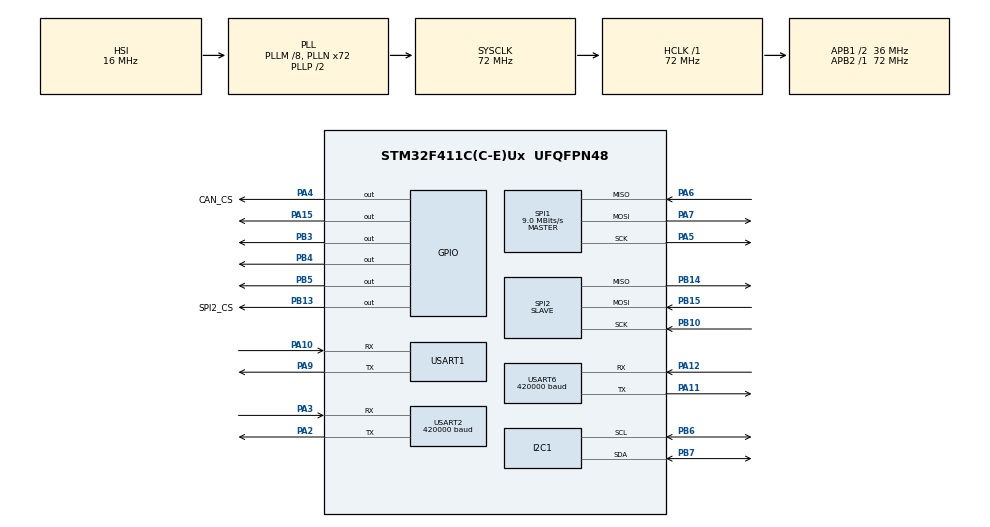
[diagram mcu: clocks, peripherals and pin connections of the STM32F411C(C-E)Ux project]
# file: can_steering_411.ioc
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Dma.Request0=USART2_RX
Dma.Request1=USART2_TX
Dma.Request2=USART6_RX
Dma.Request3=USART6_TX
Dma.USART2_RX.0.Direction=DMA_PERIPH_TO_MEMORY
Dma.USART2_RX.0.FIFOMode=DMA_FIFOMODE_DISABLE
Dma.USART2_RX.0.Instance=DMA1_Stream5
Dma.USART2_RX.0.MemDataAlignment=DMA_MDATAALIGN_BYTE
Dma.USART2_RX.0.MemInc=DMA_MINC_ENABLE
Dma.USART2_RX.0.Mode=DMA_NORMAL
Dma.USART2_RX.0.PeriphDataAlignment=DMA_PDATAALIGN_BYTE
Dma.USART2_RX.0.PeriphInc=DMA_PINC_DISABLE
Dma.USART2_RX.0.Priority=DMA_PRIORITY_LOW
Dma.USART2_TX.1.Direction=DMA_MEMORY_TO_PERIPH
Dma.USART2_TX.1.FIFOMode=DMA_FIFOMODE_DISABLE
Dma.USART2_TX.1.Instance=DMA1_Stream6
Dma.USART2_TX.1.MemDataAlignment=DMA_MDATAALIGN_BYTE
Dma.USART2_TX.1.MemInc=DMA_MINC_ENABLE
Dma.USART2_TX.1.Mode=DMA_NORMAL
Dma.USART2_TX.1.PeriphDataAlignment=DMA_PDATAALIGN_BYTE
Dma.USART2_TX.1.PeriphInc=DMA_PINC_DISABLE
Dma.USART2_TX.1.Priority=DMA_PRIORITY_LOW
Dma.USART6_RX.2.Direction=DMA_PERIPH_TO_MEMORY
Dma.USART6_RX.2.FIFOMode=DMA_FIFOMODE_DISABLE
Dma.USART6_RX.2.Instance=DMA2_Stream1
Dma.USART6_RX.2.MemDataAlignment=DMA_MDATAALIGN_BYTE
Dma.USART6_RX.2.MemInc=DMA_MINC_ENABLE
Dma.USART6_RX.2.Mode=DMA_NORMAL
Dma.USART6_RX.2.PeriphDataAlignment=DMA_PDATAALIGN_BYTE
Dma.USART6_RX.2.PeriphInc=DMA_PINC_DISABLE
Dma.USART6_RX.2.Priority=DMA_PRIORITY_LOW
Dma.USART6_TX.3.Direction=DMA_MEMORY_TO_PERIPH
Dma.USART6_TX.3.FIFOMode=DMA_FIFOMODE_DISABLE
Dma.USART6_TX.3.Instance=DMA2_Stream6
Dma.USART6_TX.3.MemDataAlignment=DMA_MDATAALIGN_BYTE
Dma.USART6_TX.3.MemInc=DMA_MINC_ENABLE
Dma.USART6_TX.3.Mode=DMA_NORMAL
Dma.USART6_TX.3.PeriphDataAlignment=DMA_PDATAALIGN_BYTE
Dma.USART6_TX.3.PeriphInc=DMA_PINC_DISABLE
Dma.USART6_TX.3.Priority=DMA_PRIORITY_LOW
Mcu.Family=STM32F4
Mcu.Name=STM32F411C(C-E)Ux
Mcu.Package=UFQFPN48
NVIC.DMA1_Stream5_IRQn=true\:0\:0\:false\:false\:true\:false\:true\:true
NVIC.DMA1_Stream6_IRQn=true\:0\:0\:false\:false\:true\:false\:true\:true
NVIC.DMA2_Stream1_IRQn=true\:0\:0\:false\:false\:true\:false\:true\:true
NVIC.DMA2_Stream6_IRQn=true\:0\:0\:false\:false\:true\:false\:true\:true
NVIC.PriorityGroup=NVIC_PRIORITYGROUP_4
NVIC.SPI2_IRQn=true\:0\:0\:false\:false\:true\:true\:true\:true
NVIC.USART1_IRQn=true\:0\:0\:false\:false\:true\:true\:true\:true
NVIC.USART2_IRQn=true\:0\:0\:false\:false\:true\:true\:true\:true
NVIC.USART6_IRQn=true\:0\:0\:false\:false\:true\:true\:true\:true
PA10.Mode=Asynchronous
PA10.Signal=USART1_RX
PA11.Mode=Asynchronous
PA11.Signal=USART6_TX
PA12.Mode=Asynchronous
PA12.Signal=USART6_RX
PA13.Mode=Serial_Wire
PA13.Signal=SYS_JTMS-SWDIO
PA14.Mode=Serial_Wire
PA14.Signal=SYS_JTCK-SWCLK
PA15.Signal=GPIO_Output
PA2.Mode=Asynchronous
PA2.Signal=USART2_TX
PA3.Mode=Asynchronous
PA3.Signal=USART2_RX
PA4.GPIO_Label=CAN_CS
PA4.Signal=GPIO_Output
PA5.Mode=Full_Duplex_Master
PA5.Signal=SPI1_SCK
PA6.Mode=Full_Duplex_Master
PA6.Signal=SPI1_MISO
PA7.Mode=Full_Duplex_Master
PA7.Signal=SPI1_MOSI
PA9.Mode=Asynchronous
PA9.Signal=USART1_TX
PB10.Mode=Full_Duplex_Slave
PB10.Signal=SPI2_SCK
PB13.GPIO_Label=SPI2_CS
PB13.Signal=GPIO_Output
PB14.Mode=Full_Duplex_Slave
PB14.Signal=SPI2_MISO
PB15.Mode=Full_Duplex_Slave
PB15.Signal=SPI2_MOSI
PB3.Signal=GPIO_Output
PB4.Signal=GPIO_Output
PB5.Signal=GPIO_Output
PB6.Mode=I2C
PB6.Signal=I2C1_SCL
PB7.Mode=I2C
PB7.Signal=I2C1_SDA
PH0\ -\ OSC_IN.Mode=HSE-External-Oscillator
PH0\ -\ OSC_IN.Signal=RCC_OSC_IN
PH1\ -\ OSC_OUT.Mode=HSE-External-Oscillator
PH1\ -\ OSC_OUT.Signal=RCC_OSC_OUT
ProjectManager.HeapSize=0x200
ProjectManager.StackSize=0x400
ProjectManager.TargetToolchain=MDK-ARM V5.32
RCC.48MHZClocksFreq_Value=36000000
RCC.AHBFreq_Value=72000000
RCC.APB1CLKDivider=RCC_HCLK_DIV2
RCC.APB1Freq_Value=36000000
RCC.APB1TimFreq_Value=72000000
RCC.APB2Freq_Value=72000000
RCC.APB2TimFreq_Value=72000000
RCC.CortexFreq_Value=72000000
RCC.HCLKFreq_Value=72000000
RCC.HSE_VALUE=25000000
RCC.HSI_VALUE=16000000
RCC.LSE_VALUE=32768
RCC.PLLM=8
RCC.PLLN=72
RCC.SYSCLKFreq_VALUE=72000000
RCC.SYSCLKSource=RCC_SYSCLKSOURCE_PLLCLK
RCC.VCOOutputFreq_Value=144000000
SPI1.BaudRatePrescaler=SPI_BAUDRATEPRESCALER_8
SPI1.CalculateBaudRate=9.0 MBits/s
SPI1.Direction=SPI_DIRECTION_2LINES
SPI1.Mode=SPI_MODE_MASTER
SPI1.VirtualType=VM_MASTER
SPI2.Direction=SPI_DIRECTION_2LINES
SPI2.Mode=SPI_MODE_SLAVE
SPI2.VirtualType=VM_SLAVE
USART1.VirtualMode=VM_ASYNC
USART2.BaudRate=420000
USART2.VirtualMode=VM_ASYNC
USART6.BaudRate=420000
USART6.VirtualMode=VM_ASYNC
board=custom

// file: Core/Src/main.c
/* USER CODE BEGIN Header */
/**
  ******************************************************************************
  * @file           : main.c
  * @brief          : Main program body
  ******************************************************************************
  * @attention
  *
  * Copyright (c) 2025 STMicroelectronics.
  * All rights reserved.
  *
  * This software is licensed under terms that can be found in the LICENSE file
  * in the root directory of this software component.
  * If no LICENSE file comes with this software, it is provided AS-IS.
  *
  ******************************************************************************
  */
/* USER CODE END Header */
#include "main.h"
#include "dma.h"
#include "i2c.h"
#include "spi.h"
#include "usart.h"
#include "gpio.h"

/* USER CODE BEGIN Includes */
#include <string.h>
#include "stm32f4xx_hal.h"
#include "CANSPI.h"
/* USER CODE END Includes */

/* USER CODE BEGIN PD */
#define WHEEL_CHANNEL 1

#define CONTROL_MODE 0x10
#define CENETER_ANGLE 0x00
#define ANGULAR_VELOCITY 20
#define MSP_SET_RAW_RC 200
/* USER CODE END PD */

/* USER CODE BEGIN PV */
int16_t angle;
uint8_t angle_low;
uint8_t angle_high;

const uint8_t numOfChannels = 16;
const uint8_t srcBits = 11;
const uint16_t inputChannelMask = (1 << srcBits) - 1;

uint8_t bitsMerged = 0;
uint32_t readValue = 0;
uint8_t readByteIndex = 0;

uint8_t UART_buffer[64];
uint8_t DMA_buffer2[64];
uint8_t DMA_buffer6[64];
uint8_t SPI_buffer[64];
uint8_t RxDataUart1[26];
uint8_t RxDataUart2[26];
uint8_t RxDataUart6[26];
uint8_t RxDataSPI[26];
uint8_t crc_buffer[26];

uint16_t RC_HID[16];
uint16_t RC_TBS[16];
uint16_t RC_ELRS[16];
uint16_t RC_SPI[16];

struct CAN_Rx_Message Rx_Msg;
/* USER CODE END PV */

void SystemClock_Config(void);
/* USER CODE BEGIN PFP */
void unpack_hid(uint8_t *array1);
void unpack_lrs(uint8_t *array1, uint16_t *array2);
void SetAngle(uint16_t angle);

/* USER CODE END PFP */

/* USER CODE BEGIN 0 */

struct CAN_Rx_Message{
	int8_t data0;
	int8_t data1;
	int8_t data2;
	int16_t data3;
	int16_t data4;
	int8_t data5;
	int8_t data6;
	int8_t data7;
	float angle;};

void HAL_UART_RxCpltCallback(UART_HandleTypeDef *huart) {
	if (huart->Instance == USART1) {
		for(int i = 0; i<26; i++){
			if(UART_buffer[i] == 0x57){
				if(UART_buffer[i+2] == 0x88){
				memcpy(RxDataUart1, &UART_buffer[i], 26 * sizeof(RxDataUart1[0]));
				unpack_hid(RxDataUart1);}}}}

	if(huart->Instance == USART2){
		for(int i = 0; i<26; i++){
			if(DMA_buffer2[i] == 0xC8){
				if(DMA_buffer2[i+2] == 0x16){
				memcpy(RxDataUart2, &DMA_buffer2[i], 26 * sizeof(RxDataUart2[0]));}}}
				unpack_lrs(RxDataUart2, RC_TBS);}

	if (huart->Instance == USART6){
		for(int i = 0; i<26; i++){
			if(DMA_buffer6[i] == 0xC8){
				if(DMA_buffer6[i+2] == 0x16){
				memcpy(RxDataUart6, &DMA_buffer6[i], 26 * sizeof(RxDataUart6[0]));}}}
				unpack_lrs(RxDataUart6, RC_ELRS);}

				HAL_UART_Receive_DMA(&huart2, DMA_buffer2, sizeof(DMA_buffer2));
				HAL_UART_Receive_DMA(&huart6, DMA_buffer6, sizeof(DMA_buffer6));
				HAL_UART_Receive_IT(&huart1, UART_buffer, sizeof(UART_buffer));}

void HAL_SPI_RxCpltCallback(SPI_HandleTypeDef *hspi) {
	if (hspi == &hspi2) {
		for(int i = 0; i<26; i++){
			if(SPI_buffer[i] == '$' && SPI_buffer[i+1] == 'M' && SPI_buffer[i+2] == '>' && SPI_buffer[i+4] == MSP_SET_RAW_RC){
				memcpy(RxDataSPI, &SPI_buffer[i+5], 26 * sizeof(RxDataSPI[0]));
				RC_SPI[0] = ((RxDataSPI[1] << 8) | RxDataSPI[0]);
				RC_SPI[1] = ((RxDataSPI[3] << 8) | RxDataSPI[2]);
				RC_SPI[2] = ((RxDataSPI[5] << 8) | RxDataSPI[4]);
				RC_SPI[3] = ((RxDataSPI[7] << 8) | RxDataSPI[6]);
				RC_SPI[4] = ((RxDataSPI[9] << 8) | RxDataSPI[8]);
				RC_SPI[5] = ((RxDataSPI[11] << 8) | RxDataSPI[10]);
				RC_SPI[6] = ((RxDataSPI[13] << 8) | RxDataSPI[12]);
				RC_SPI[7] = ((RxDataSPI[15] << 8) | RxDataSPI[14]);}}}
	HAL_SPI_Receive_IT(&hspi2, SPI_buffer, sizeof(SPI_buffer));}

void unpack_hid(uint8_t *array1) {
	RC_HID[0] = (((RxDataUart1[9] << 8) | RxDataUart1[8]));
	RC_HID[1] = (((RxDataUart1[11] << 8) | RxDataUart1[10]));
	RC_HID[2] = (((RxDataUart1[13] << 8) | RxDataUart1[12]));
	RC_HID[3] = (((RxDataUart1[15] << 8) | RxDataUart1[14]));
	RC_HID[4] = (((RxDataUart1[17] << 8) | RxDataUart1[16]));
	RC_HID[5] = (((RxDataUart1[19] << 8) | RxDataUart1[18]));
	RC_HID[6] = (((RxDataUart1[21] << 8) | RxDataUart1[20]));
	RC_HID[7] = (((RxDataUart1[23] << 8) | RxDataUart1[22]));}

void unpack_lrs(uint8_t *array1, uint16_t *array2){
	bitsMerged = 0;
	readValue = 0;
	readByteIndex = 3;
	for (uint8_t n = 0; n < numOfChannels; n++) {
		while (bitsMerged < srcBits) {
			uint8_t readByte = array1[readByteIndex++];
      readValue |= ((uint32_t) readByte) << bitsMerged;
      bitsMerged += 8;}
			array2[n] = (readValue & inputChannelMask);
			readValue >>= srcBits;
			bitsMerged -= srcBits;}}

void SetAngle(uint16_t angle){
	uCAN_MSG txMessage;
	angle_low = (angle + 1024) & 0xFF;
	angle_high =  (angle + 1024) >> 8;
	txMessage.frame.id = 0x469;
	txMessage.frame.idType = dSTANDARD_CAN_MSG_ID_2_0B;
  txMessage.frame.dlc = 8;
  txMessage.frame.data0 = CONTROL_MODE;
	txMessage.frame.data1 = 0x00;
	txMessage.frame.data2 = 0x00;
  txMessage.frame.data3 = angle_high;
  txMessage.frame.data4 = angle_low;
  txMessage.frame.data5 = 0x00;
	txMessage.frame.data6 = ANGULAR_VELOCITY;
  txMessage.frame.data7 = txMessage.frame.data0 ^ txMessage.frame.data1 ^ txMessage.frame.data2
	^ txMessage.frame.data3 ^ txMessage.frame.data4 ^ txMessage.frame.data5 ^ txMessage.frame.data6;
  CANSPI_Transmit(&txMessage);}

/* USER CODE END 0 */

int main(void)
{

  /* MCU Configuration--------------------------------------------------------*/

  /* Reset of all peripherals, Initializes the Flash interface and the Systick. */
  HAL_Init();

  /* Configure the system clock */
  SystemClock_Config();

  /* Initialize all configured peripherals */
  MX_GPIO_Init();
  MX_DMA_Init();
  MX_SPI1_Init();
  MX_USART1_UART_Init();
  MX_USART2_UART_Init();
  MX_SPI2_Init();
  MX_I2C1_Init();
  MX_USART6_UART_Init();
  /* USER CODE BEGIN 2 */

  HAL_UART_Receive_IT(&huart1, UART_buffer, sizeof(UART_buffer));
	HAL_UART_Receive_DMA(&huart2, DMA_buffer2, sizeof(DMA_buffer2));
	HAL_UART_Receive_DMA(&huart6, DMA_buffer6, sizeof(DMA_buffer6));
	HAL_SPI_Receive_IT(&hspi2, SPI_buffer, sizeof(SPI_buffer));

  //uCAN_MSG txMessage;
	uCAN_MSG rxMessage;
  CANSPI_Initialize();

  HAL_Delay(1000);
	SetAngle(0);
	HAL_Delay(1000);

  /* USER CODE END 2 */
  /* Infinite loop */
  /* USER CODE BEGIN WHILE */
  while (1){
	if (RC_SPI[WHEEL_CHANNEL]>0){angle = (((RC_SPI[WHEEL_CHANNEL]-172)*0.4395)-360);}
	else if (RC_HID[WHEEL_CHANNEL]>0){angle = ((0.3515 * RC_HID[WHEEL_CHANNEL]) - 360);}
	else if (RC_TBS[WHEEL_CHANNEL]>0){angle = (((RC_TBS[WHEEL_CHANNEL]-172)*0.4395)-360);}
	SetAngle(0);

	if(CANSPI_Receive(&rxMessage)){
		Rx_Msg.data0 = rxMessage.frame.data0;
		Rx_Msg.data1 = rxMessage.frame.data1;
		Rx_Msg.data2 = rxMessage.frame.data2;
		Rx_Msg.data3 = rxMessage.frame.data3;
		Rx_Msg.data4 = rxMessage.frame.data4;
		Rx_Msg.data5 = rxMessage.frame.data5;
		Rx_Msg.data6 = rxMessage.frame.data6;
		Rx_Msg.data7 = rxMessage.frame.data7;
		Rx_Msg.angle = ((Rx_Msg.data3 << 8) + Rx_Msg.data4) - 1024;}

	HAL_UART_Receive_IT(&huart1, UART_buffer, sizeof(UART_buffer));
	HAL_UART_Receive_DMA(&huart2, DMA_buffer2, sizeof(DMA_buffer2));
	HAL_UART_Receive_DMA(&huart6, DMA_buffer2, sizeof(DMA_buffer6));
	HAL_SPI_Receive_IT(&hspi2, SPI_buffer, sizeof(SPI_buffer));	}

    /* USER CODE END WHILE */
}

void SystemClock_Config(void)
{
  RCC_OscInitTypeDef RCC_OscInitStruct = {0};
  RCC_ClkInitTypeDef RCC_ClkInitStruct = {0};

  /** Configure the main internal regulator output voltage
  */
  __HAL_RCC_PWR_CLK_ENABLE();
  __HAL_PWR_VOLTAGESCALING_CONFIG(PWR_REGULATOR_VOLTAGE_SCALE1);

  /** Initializes the RCC Oscillators according to the specified parameters
  * in the RCC_OscInitTypeDef structure.
  */
  RCC_OscInitStruct.OscillatorType = RCC_OSCILLATORTYPE_HSI;
  RCC_OscInitStruct.HSIState = RCC_HSI_ON;
  RCC_OscInitStruct.HSICalibrationValue = RCC_HSICALIBRATION_DEFAULT;
  RCC_OscInitStruct.PLL.PLLState = RCC_PLL_ON;
  RCC_OscInitStruct.PLL.PLLSource = RCC_PLLSOURCE_HSI;
  RCC_OscInitStruct.PLL.PLLM = 8;
  RCC_OscInitStruct.PLL.PLLN = 72;
  RCC_OscInitStruct.PLL.PLLP = RCC_PLLP_DIV2;
  RCC_OscInitStruct.PLL.PLLQ = 4;
  if (HAL_RCC_OscConfig(&RCC_OscInitStruct) != HAL_OK)
  {
    Error_Handler();
  }

  /** Initializes the CPU, AHB and APB buses clocks
  */
  RCC_ClkInitStruct.ClockType = RCC_CLOCKTYPE_HCLK|RCC_CLOCKTYPE_SYSCLK
                              |RCC_CLOCKTYPE_PCLK1|RCC_CLOCKTYPE_PCLK2;
  RCC_ClkInitStruct.SYSCLKSource = RCC_SYSCLKSOURCE_PLLCLK;
  RCC_ClkInitStruct.AHBCLKDivider = RCC_SYSCLK_DIV1;
  RCC_ClkInitStruct.APB1CLKDivider = RCC_HCLK_DIV2;
  RCC_ClkInitStruct.APB2CLKDivider = RCC_HCLK_DIV1;

  if (HAL_RCC_ClockConfig(&RCC_ClkInitStruct, FLASH_LATENCY_2) != HAL_OK)
  {
    Error_Handler();
  }
}

void Error_Handler(void)
{
  __disable_irq();
  while (1)
  {
  }
}
